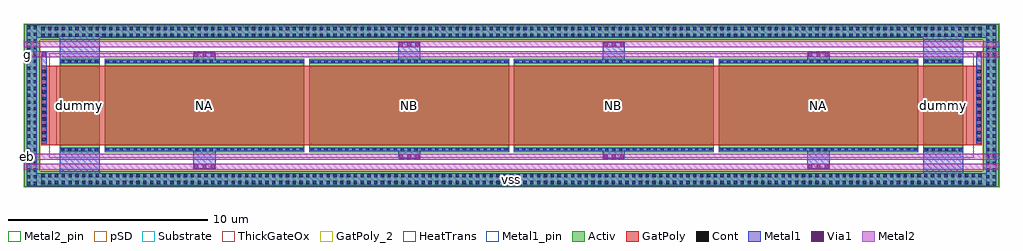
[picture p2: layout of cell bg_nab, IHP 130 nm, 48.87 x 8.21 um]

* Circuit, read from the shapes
.subckt bg_nab ea eb g vpc vss
XM1 vss g vss vss sg13_hv_nmos w=2u l=4u m=2
XM2 g g ea vss sg13_hv_nmos w=10u l=4u m=2
XM3 vpc g eb vss sg13_hv_nmos w=10u l=4u m=2
.ends

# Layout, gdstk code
from math import pi, radians
import gdstk
lib = gdstk.Library(unit=1e-6, precision=1e-09)
def R(c, l, rs):  # rectangles x0, y0, x1, y1
    for r in rs: c.add(gdstk.rectangle(r[:2], r[2:], *l))
def A(c, l, x, y, w, h, nx, ny, dx, dy):  # array of equal rectangles
    R(c, l, [(x+i*dx, y+j*dy, x+i*dx+w, y+j*dy+h) for i in range(nx) for j in range(ny)])
Activ = (1, 0)
GatPoly = (5, 0)
GatPoly_2 = (5, 2)
Cont = (6, 0)
Metal1 = (8, 0)
Metal1_pin = (8, 2)
Metal2 = (10, 0)
Metal2_pin = (10, 2)
pSD = (14, 0)
Via1 = (19, 0)
Substrate = (40, 0)
ThickGateOx = (44, 0)
HeatTrans = (51, 0)

ptap1_25 = lib.new_cell('ptap1$25')
R(ptap1_25, Activ, [(0,0,47.25,0.78)])
A(ptap1_25, Cont, 0.085, 0.14, 0.16, 0.16, 139, 2, 0.34, 0.34)
R(ptap1_25, Metal1, [(0.085,0.09,47.165,0.69), (0.085,0.14,47.165,0.64)])
R(ptap1_25, Metal1_pin, [(0.085,0.14,47.165,0.64)])
R(ptap1_25, pSD, [(-0.03,-0.03,47.28,0.81)])
R(ptap1_25, Substrate, [(0,0,47.25,0.78)])
ptap1_25.add(gdstk.Label('sub!', (23.625,0.01), layer=63, texttype=0))
ptap1_25.add(gdstk.Label('sub!', (23.625,0.01), layer=40, texttype=0))

ptap1_24 = lib.new_cell('ptap1$24')
R(ptap1_24, Activ, [(0,0,0.78,8.15)])
A(ptap1_24, Cont, 0.14, 0.085, 0.16, 0.16, 1, 24, 0, 0.34)
A(ptap1_24, Cont, 0.48, 0.085, 0.16, 0.16, 1, 24, 0, 0.34)
R(ptap1_24, Metal1, [(0.14,0.035,0.64,8.115), (0.14,0.085,0.64,8.065)])
R(ptap1_24, Metal1_pin, [(0.14,0.085,0.64,8.065)])
R(ptap1_24, pSD, [(-0.03,-0.03,0.81,8.18)])
R(ptap1_24, Substrate, [(0,0,0.78,8.15)])
ptap1_24.add(gdstk.Label('sub!', (0.39,0.01), layer=63, texttype=0))
ptap1_24.add(gdstk.Label('sub!', (0.39,0.01), layer=40, texttype=0))

nmoshv_11 = lib.new_cell('nmosHV$11')
R(nmoshv_11, Activ, [(0,0,0.3,0.3), (0,0,4.68,2), (4.38,0,4.68,0.3)])
R(nmoshv_11, GatPoly, [(0.34,-0.18,4.34,2.18)])
R(nmoshv_11, GatPoly_2, [(0.34,-0.18,4.34,2.18)])
A(nmoshv_11, Cont, 0.07, 0.07, 0.16, 0.16, 1, 6, 0, 0.34)
A(nmoshv_11, Cont, 4.45, 0.07, 0.16, 0.16, 1, 6, 0, 0.34)
R(nmoshv_11, Metal1, [(0.07,0,0.23,2), (4.45,0,4.61,2)])
R(nmoshv_11, Metal1_pin, [(0.07,0,0.23,2), (4.45,0,4.61,2)])
R(nmoshv_11, ThickGateOx, [(-0.27,-0.52,4.95,2.52)])
R(nmoshv_11, HeatTrans, [(0.34,-0.18,4.34,2.18)])
nmoshv_11.add(gdstk.Label('nmosHV', (2.34,1), layer=63, texttype=0))
nmoshv_11.add(gdstk.Label('nmosHV', (2.34,1), layer=51, texttype=0))

nmoshv_10 = lib.new_cell('nmosHV$10')
R(nmoshv_10, Activ, [(0,0,0.3,0.3), (0,0,4.68,10), (4.38,0,4.68,0.3)])
R(nmoshv_10, GatPoly, [(0.34,-0.18,4.34,10.18)])
R(nmoshv_10, GatPoly_2, [(0.34,-0.18,4.34,10.18)])
A(nmoshv_10, Cont, 0.07, 0.07, 0.16, 0.16, 1, 4, 0, 0.345)
A(nmoshv_10, Cont, 4.45, 0.07, 0.16, 0.16, 1, 4, 0, 0.345)
A(nmoshv_10, Cont, 0.07, 1.455, 0.16, 0.16, 1, 3, 0, 0.345)
A(nmoshv_10, Cont, 4.45, 1.455, 0.16, 0.16, 1, 3, 0, 0.345)
A(nmoshv_10, Cont, 0.07, 2.495, 0.16, 0.16, 1, 4, 0, 0.345)
A(nmoshv_10, Cont, 4.45, 2.495, 0.16, 0.16, 1, 4, 0, 0.345)
A(nmoshv_10, Cont, 0.07, 3.88, 0.16, 0.16, 1, 3, 0, 0.345)
A(nmoshv_10, Cont, 4.45, 3.88, 0.16, 0.16, 1, 3, 0, 0.345)
A(nmoshv_10, Cont, 0.07, 4.92, 0.16, 0.16, 1, 4, 0, 0.345)
A(nmoshv_10, Cont, 4.45, 4.92, 0.16, 0.16, 1, 4, 0, 0.345)
A(nmoshv_10, Cont, 0.07, 6.305, 0.16, 0.16, 1, 3, 0, 0.345)
A(nmoshv_10, Cont, 4.45, 6.305, 0.16, 0.16, 1, 3, 0, 0.345)
A(nmoshv_10, Cont, 0.07, 7.345, 0.16, 0.16, 1, 4, 0, 0.345)
A(nmoshv_10, Cont, 4.45, 7.345, 0.16, 0.16, 1, 4, 0, 0.345)
A(nmoshv_10, Cont, 0.07, 8.73, 0.16, 0.16, 1, 3, 0, 0.345)
A(nmoshv_10, Cont, 4.45, 8.73, 0.16, 0.16, 1, 3, 0, 0.345)
R(nmoshv_10, Cont, [(0.07,9.77,0.23,9.93), (4.45,9.77,4.61,9.93)])
R(nmoshv_10, Metal1, [(0.07,0,0.23,10), (4.45,0,4.61,10)])
R(nmoshv_10, Metal1_pin, [(0.07,0,0.23,10), (4.45,0,4.61,10)])
R(nmoshv_10, ThickGateOx, [(-0.27,-0.52,4.95,10.52)])
R(nmoshv_10, HeatTrans, [(0.34,-0.18,4.34,10.18)])
nmoshv_10.add(gdstk.Label('nmosHV', (2.34,5), layer=63, texttype=0))
nmoshv_10.add(gdstk.Label('nmosHV', (2.34,5), layer=51, texttype=0))

bg_nab = lib.new_cell('bg_nab')
R(bg_nab, GatPoly, [(-0.93,0.34,-0.18,4.34), (45.43,0.34,46.18,4.34)])
A(bg_nab, Cont, -0.86, 0.56, 0.16, 0.16, 1, 11, 0, 0.34)
A(bg_nab, Cont, 45.95, 0.56, 0.16, 0.16, 1, 11, 0, 0.34)
R(bg_nab, Metal1, [(-1.64,-1.7,46.89,-1.645), (-1.24,-1.645,-0.815,-1.045), (46.065,-1.645,46.49,-1.045), (0,-1.145,2,0.23), (43.25,-1.145,45.25,0.23), (6.695,-0.825,7.805,0.23), (37.445,-0.825,38.555,0.23), (16.945,-0.325,18.055,0.23), (27.195,-0.325,28.305,0.23), (-0.91,0.43,-0.65,5.055), (45.9,0.43,46.16,5.055), (0,4.45,2,5.825), (6.695,4.45,7.805,5.005), (16.945,4.45,18.055,5.505), (27.195,4.45,28.305,5.505), (37.445,4.45,38.555,5.005), (43.25,4.45,45.25,5.825), (-1.24,5.725,-0.815,6.325), (46.065,5.725,46.49,6.325), (-1.64,6.325,46.89,6.38)])
R(bg_nab, Metal1_pin, [(-0.915,-1.645,46.165,-1.045)])
R(bg_nab, Metal2_pin, [(-1.81,-0.865,-1.41,-0.575), (-1.81,-0.365,-1.41,-0.075), (-1.81,4.755,-1.41,5.045), (-1.81,5.255,-1.41,5.545)])
A(bg_nab, Via1, 6.745, -0.815, 0.19, 0.19, 3, 2, 0.41, 5.62)
A(bg_nab, Via1, 37.495, -0.815, 0.19, 0.19, 3, 2, 0.41, 5.62)
A(bg_nab, Via1, 16.995, -0.315, 0.19, 0.19, 3, 2, 0.41, 5.62)
A(bg_nab, Via1, 27.245, -0.315, 0.19, 0.19, 3, 2, 0.41, 5.62)
R(bg_nab, Via1, [(-0.875,4.805,-0.685,4.995), (45.935,4.805,46.125,4.995)])
R(bg_nab, ThickGateOx, [(-0.52,-0.27,45.77,4.95)])
bg_nab.add(gdstk.FlexPath([(-1.665,4.9),(46.915,4.9)], 0.29, ends="extended", simple_path=True, layer=10, datatype=0))  # Metal2
bg_nab.add(gdstk.FlexPath([(-1.665,5.4),(46.915,5.4)], 0.29, ends="extended", simple_path=True, layer=10, datatype=0))  # Metal2
bg_nab.add(gdstk.FlexPath([(-1.665,-0.22),(46.915,-0.22)], 0.29, ends="extended", simple_path=True, layer=10, datatype=0))  # Metal2
bg_nab.add(gdstk.FlexPath([(-1.665,-0.72),(46.915,-0.72)], 0.29, ends="extended", simple_path=True, layer=10, datatype=0))  # Metal2
bg_nab.add(gdstk.Reference(ptap1_25, (-1,5.635)))
bg_nab.add(gdstk.Reference(ptap1_25, (-1,-1.735)))
bg_nab.add(gdstk.Reference(ptap1_24, (-1.78,-1.735)))
bg_nab.add(gdstk.Reference(ptap1_24, (46.25,-1.735)))
bg_nab.add(gdstk.Reference(nmoshv_11, (0,4.68), rotation=3*pi/2))
bg_nab.add(gdstk.Reference(nmoshv_11, (43.25,4.68), rotation=3*pi/2))
r = gdstk.Reference(nmoshv_10, (2.25,4.68), rotation=3*pi/2); r.repetition = gdstk.Repetition(1, 4, v1=(0,0), v2=(10.25,0)); bg_nab.add(r)
bg_nab.add(gdstk.Label('dummy', (1,2.34), layer=63, texttype=0))
bg_nab.add(gdstk.Label('NA', (7.25,2.34), layer=63, texttype=0))
bg_nab.add(gdstk.Label('NB', (17.5,2.34), layer=63, texttype=0))
bg_nab.add(gdstk.Label('NB', (27.75,2.34), layer=63, texttype=0))
bg_nab.add(gdstk.Label('NA', (38,2.34), layer=63, texttype=0))
bg_nab.add(gdstk.Label('dummy', (44.25,2.34), layer=63, texttype=0))
bg_nab.add(gdstk.Label('vss', (22.625,-1.345), layer=8, texttype=25))
bg_nab.add(gdstk.Label('g', (-1.61,4.9), layer=10, texttype=25))
bg_nab.add(gdstk.Label('vpc', (-1.61,5.4), layer=10, texttype=25))
bg_nab.add(gdstk.Label('eb', (-1.61,-0.22), layer=10, texttype=25))
bg_nab.add(gdstk.Label('ea', (-1.61,-0.72), layer=10, texttype=25))

lib.write_gds('bg_nab.gds')
